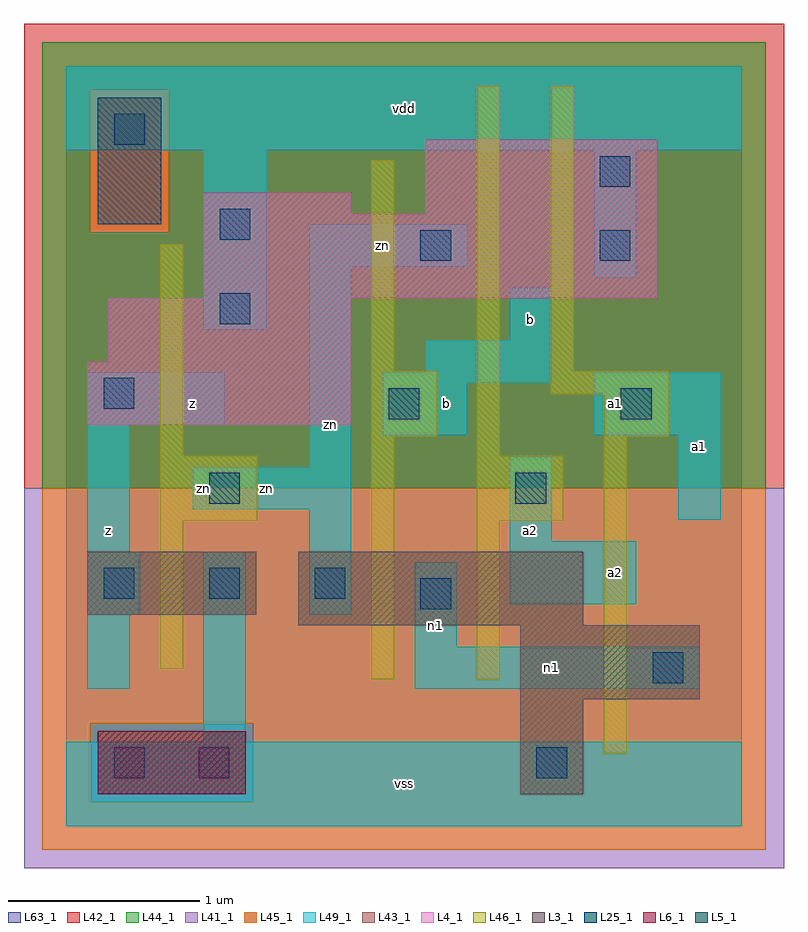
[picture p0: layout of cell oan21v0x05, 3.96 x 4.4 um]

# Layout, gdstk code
import gdstk
lib = gdstk.Library(unit=1e-6, precision=1e-09)
def R(c, l, rs):  # rectangles x0, y0, x1, y1
    for r in rs: c.add(gdstk.rectangle(r[:2], r[2:], *l))
def A(c, l, x, y, w, h, nx, ny, dx, dy):  # array of equal rectangles
    R(c, l, [(x+i*dx, y+j*dy, x+i*dx+w, y+j*dy+h) for i in range(nx) for j in range(ny)])
L3_1 = (3, 1)
L4_1 = (4, 1)
L5_1 = (5, 1)
L6_1 = (6, 1)
L25_1 = (25, 1)
L41_1 = (41, 1)
L42_1 = (42, 1)
L43_1 = (43, 1)
L44_1 = (44, 1)
L45_1 = (45, 1)
L46_1 = (46, 1)
L49_1 = (49, 1)
L63_1 = (63, 1)

oan21v0x05 = lib.new_cell('oan21v0x05')
R(oan21v0x05, L3_1, [(2.365,0.165,2.695,0.66), (2.365,0.66,3.3,1.045), (1.21,1.045,2.695,1.43), (0.11,1.1,0.99,1.43)])
R(oan21v0x05, L4_1, [(0.11,2.09,1.485,2.42), (0.22,2.42,1.485,2.75), (0.715,2.75,3.08,3.19), (0.715,3.19,1.485,3.3), (1.87,3.19,3.08,3.575)])
R(oan21v0x05, L5_1, [(0.165,3.135,0.495,3.795)])
R(oan21v0x05, L6_1, [(0.165,0.165,0.935,0.495)])
A(oan21v0x05, L25_1, 0.195, 1.185, 0.16, 0.16, 3, 1, 0.55, 0)
R(oan21v0x05, L25_1, [(0.25,0.25,0.41,0.41), (0.69,0.25,0.85,0.41), (2.45,0.25,2.61,0.41), (3.055,0.745,3.215,0.905), (1.845,1.13,2.005,1.29), (0.745,1.68,0.905,1.84), (2.34,1.68,2.5,1.84), (1.68,2.12,1.84,2.28), (2.89,2.12,3.05,2.28), (0.195,2.175,0.355,2.335), (0.8,2.615,0.96,2.775), (1.845,2.945,2.005,3.105), (2.78,2.945,2.94,3.105), (0.8,3.055,0.96,3.215), (2.78,3.33,2.94,3.49), (0.25,3.55,0.41,3.71)])
R(oan21v0x05, L41_1, [(-0.22,-0.22,3.74,1.76)])
R(oan21v0x05, L42_1, [(-0.22,1.76,3.74,4.18)])
R(oan21v0x05, L43_1, [(0.165,0.165,0.935,0.495), (2.365,0.165,2.695,0.66), (2.365,0.66,3.3,1.045), (1.21,1.045,2.695,1.43), (0.11,1.1,0.99,1.43), (0.11,2.09,1.485,2.42), (0.22,2.42,1.485,2.75), (0.715,2.75,3.08,3.19), (0.165,3.135,0.495,3.795), (0.715,3.19,1.485,3.3), (1.87,3.19,3.08,3.575)])
R(oan21v0x05, L44_1, [(0.125,0.125,0.975,0.535), (-0.125,1.76,3.645,3.095), (-0.125,3.095,0.125,3.835), (0.535,3.095,3.645,3.835), (-0.125,3.835,3.645,4.085)])
R(oan21v0x05, L45_1, [(-0.125,-0.125,3.645,0.125), (-0.125,0.125,0.125,0.535), (0.975,0.125,3.645,0.535), (-0.125,0.535,3.645,1.76), (0.125,3.095,0.535,3.835)])
R(oan21v0x05, L46_1, [(2.8,0.38,2.92,2.03), (1.59,0.765,1.71,2.03), (2.14,0.765,2.26,1.59), (0.49,0.82,0.61,1.59), (0.49,1.59,0.995,1.93), (2.14,1.59,2.59,1.93), (0.49,1.93,0.61,3.03), (2.14,1.93,2.26,3.855), (1.59,2.03,1.93,2.37), (2.8,2.03,3.14,2.25), (2.525,2.25,3.14,2.37), (1.59,2.37,1.71,3.47), (2.525,2.37,2.645,3.855)])
R(oan21v0x05, L49_1, [(0,0,3.52,0.44), (0.715,0.44,0.935,1.43), (0.11,0.715,0.33,1.1), (1.815,0.715,3.3,0.935), (1.815,0.935,2.035,1.375), (0.11,1.1,0.385,1.43), (1.265,1.1,1.485,1.65), (2.31,1.155,2.97,1.485), (0.11,1.43,0.33,2.09), (2.31,1.485,2.53,1.925), (3.19,1.595,3.41,2.035), (0.66,1.65,1.485,1.87), (1.265,1.87,1.485,2.915), (1.65,2.035,2.09,2.31), (2.75,2.035,3.41,2.365), (0.11,2.09,0.825,2.365), (1.65,2.31,2.53,2.365), (1.87,2.365,2.53,2.53), (2.31,2.53,2.53,2.805), (0.715,2.585,1.045,3.52), (2.75,2.86,2.97,3.52), (1.265,2.915,2.09,3.135), (0,3.52,3.52,3.96)])
R(oan21v0x05, L63_1, [(0,0,3.52,3.96)])
oan21v0x05.add(gdstk.Label('zn', (0.715,1.76), layer=46, texttype=1))
oan21v0x05.add(gdstk.Label('z', (0.22,1.54), layer=49, texttype=1))
oan21v0x05.add(gdstk.Label('z', (0.66,2.2), layer=49, texttype=1))
oan21v0x05.add(gdstk.Label('zn', (1.045,1.76), layer=49, texttype=1))
oan21v0x05.add(gdstk.Label('zn', (1.375,2.09), layer=49, texttype=1))
oan21v0x05.add(gdstk.Label('vss', (1.76,0.22), layer=49, texttype=1))
oan21v0x05.add(gdstk.Label('n1', (1.925,1.045), layer=49, texttype=1))
oan21v0x05.add(gdstk.Label('a2', (2.42,1.54), layer=49, texttype=1))
oan21v0x05.add(gdstk.Label('b', (1.98,2.2), layer=49, texttype=1))
oan21v0x05.add(gdstk.Label('b', (2.42,2.64), layer=49, texttype=1))
oan21v0x05.add(gdstk.Label('zn', (1.65,3.025), layer=49, texttype=1))
oan21v0x05.add(gdstk.Label('vdd', (1.76,3.74), layer=49, texttype=1))
oan21v0x05.add(gdstk.Label('n1', (2.53,0.825), layer=49, texttype=1))
oan21v0x05.add(gdstk.Label('a2', (2.86,1.32), layer=49, texttype=1))
oan21v0x05.add(gdstk.Label('a1', (3.3,1.98), layer=49, texttype=1))
oan21v0x05.add(gdstk.Label('a1', (2.86,2.2), layer=49, texttype=1))

lib.write_gds('oan21v0x05.gds')
